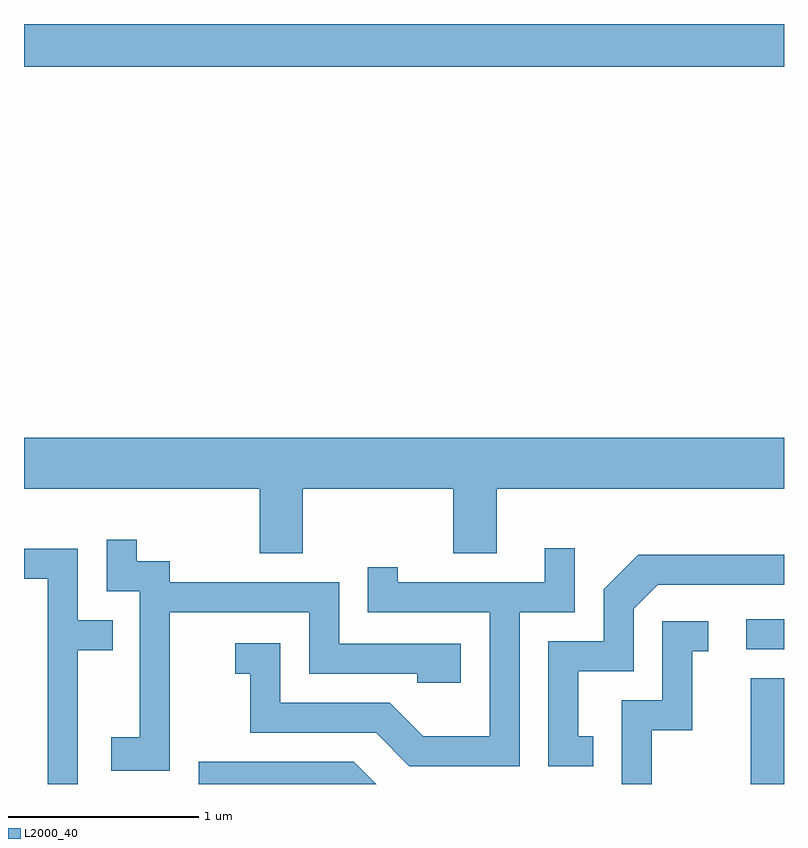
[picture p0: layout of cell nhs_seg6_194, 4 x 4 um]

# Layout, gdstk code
import gdstk
lib = gdstk.Library(unit=1e-6, precision=1e-09)
def R(c, l, rs):  # rectangles x0, y0, x1, y1
    for r in rs: c.add(gdstk.rectangle(r[:2], r[2:], *l))
def P(c, l, *ps):  # polygons
    for p in ps: c.add(gdstk.Polygon(p, *l))
L2000_40 = (2000, 40)

nhs_seg6_194 = lib.new_cell('nhs_seg6_194')
R(nhs_seg6_194, L2000_40, [(193.436,1646.162,193.611,1646.719), (193.413,1646.871,193.611,1647.029), (189.611,1649.936,193.611,1650.162)])
P(nhs_seg6_194, L2000_40, [(191.079,1647.716),(191.871,1647.716),(191.871,1647.376),(192.099,1647.376),(192.099,1647.716),(193.611,1647.716),(193.611,1647.984),(189.611,1647.984),(189.611,1647.716),(190.851,1647.716),(190.851,1647.376),(191.079,1647.376)],
  [(190.379,1647.066),(191.111,1647.066),(191.111,1646.741),(191.681,1646.741),(191.681,1646.696),(191.909,1646.696),(191.909,1646.899),(191.269,1646.899),(191.269,1647.224),(190.379,1647.224),(190.379,1647.334),(190.204,1647.334),(190.204,1647.448),(190.046,1647.448),(190.046,1647.176),(190.221,1647.176),(190.221,1646.409),(190.071,1646.409),(190.071,1646.231),(190.379,1646.231)],
  [(192.219,1647.066),(192.509,1647.066),(192.509,1647.403),(192.351,1647.403),(192.351,1647.224),(191.579,1647.224),(191.579,1647.303),(191.421,1647.303),(191.421,1647.066),(192.061,1647.066),(192.061,1646.414),(191.712,1646.414),(191.537,1646.589),(190.959,1646.589),(190.959,1646.904),(190.723,1646.904),(190.723,1646.741),(190.801,1646.741),(190.801,1646.431),(191.464,1646.431),(191.639,1646.256),(192.219,1646.256)],
  [(189.894,1646.866),(190.078,1646.866),(190.078,1647.024),(189.894,1647.024),(189.894,1647.399),(189.611,1647.399),(189.611,1647.241),(189.736,1647.241),(189.736,1646.162),(189.894,1646.162)],
  [(192.608,1646.414),(192.529,1646.414),(192.529,1646.756),(192.819,1646.756),(192.819,1647.084),(192.947,1647.211),(193.611,1647.211),(193.611,1647.369),(192.844,1647.369),(192.661,1647.187),(192.661,1646.914),(192.371,1646.914),(192.371,1646.256),(192.608,1646.256)],
  [(192.914,1646.446),(193.129,1646.446),(193.129,1646.861),(193.213,1646.861),(193.213,1647.019),(192.971,1647.019),(192.971,1646.604),(192.756,1646.604),(192.756,1646.162),(192.914,1646.162)],
  [(191.347,1646.279),(190.531,1646.279),(190.531,1646.162),(191.464,1646.162)])

lib.write_gds('nhs_seg6_194.gds')
